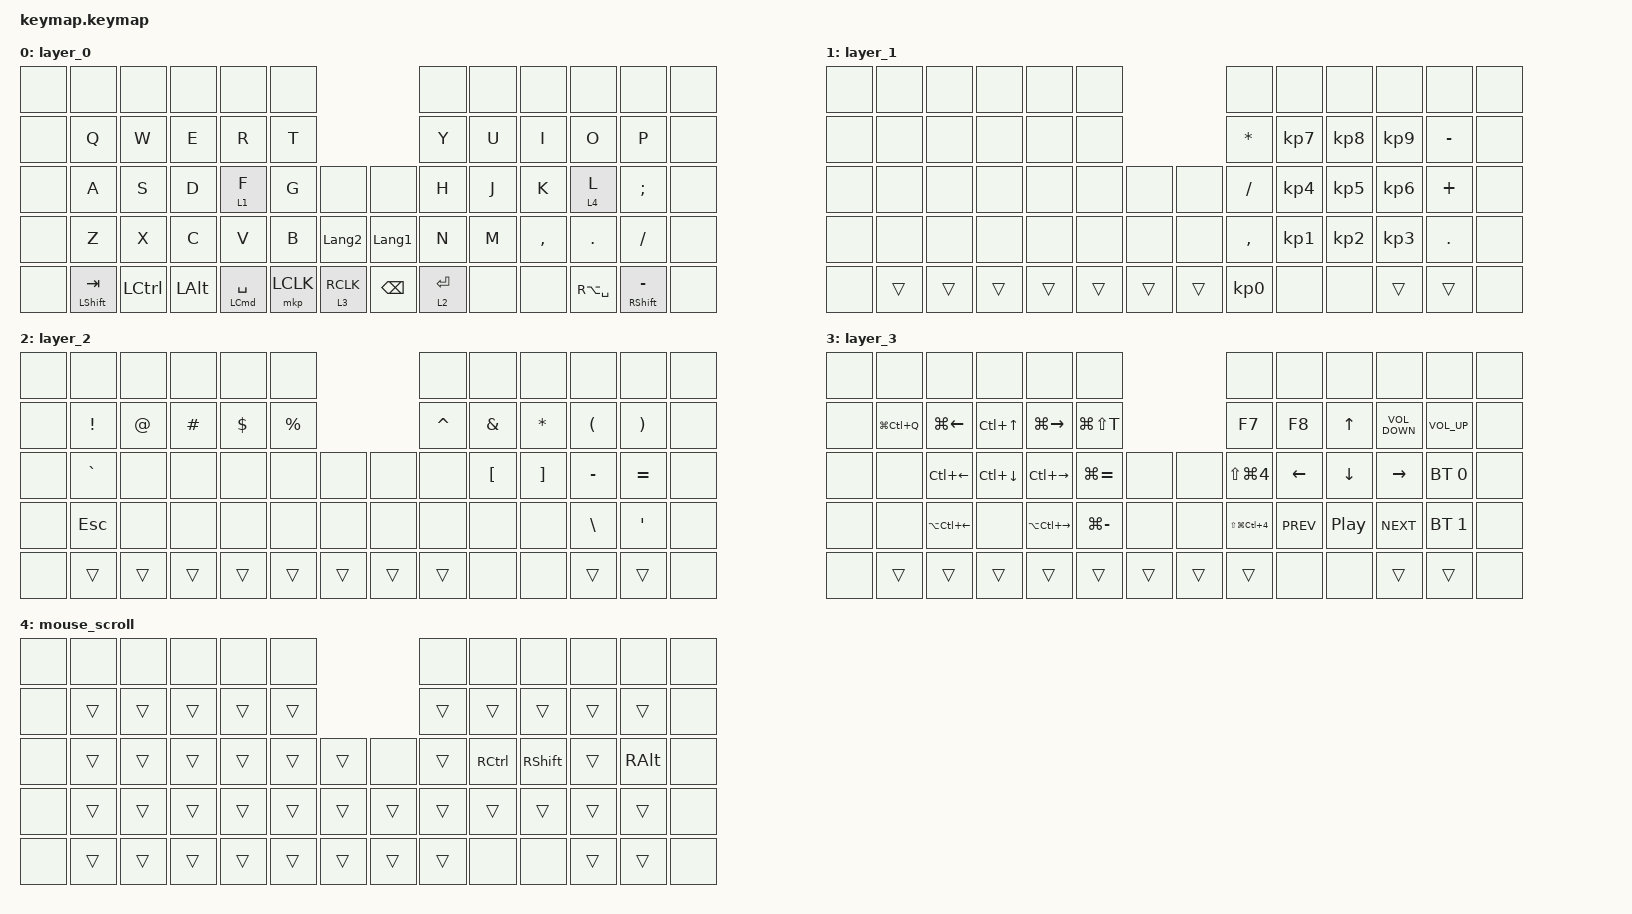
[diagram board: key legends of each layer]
#include <behaviors.dtsi>
#include <dt-bindings/zmk/bt.h>
#include <dt-bindings/zmk/keys.h>
#include <dt-bindings/zmk/pointing.h>

/ {
    combos { compatible = "zmk,combos"; };

    behaviors {
        lt_mouse: lt_mouse {
            compatible = "zmk,behavior-hold-tap";
            label = "LT_MOUSE";
            #binding-cells = <2>;
            tapping-term-ms = <200>;
            flavor = "tap-preferred";
            bindings = <&mo>, <&mkp>;
        };
    };

    keymap {
        compatible = "zmk,keymap";

        layer_0 {
            bindings = <
&none  &none               &none             &none     &none                   &none                                        &none        &none  &none      &none          &none                  &none
&none  &kp Q               &kp W             &kp E     &kp R                   &kp T                                        &kp Y        &kp U  &kp I      &kp O          &kp P                  &none
&none  &kp A               &kp S             &kp D     &lt 1 F                 &kp G      &none             &none           &kp H        &kp J  &kp K      &lt 4 L        &kp SEMI               &none
&none  &kp Z               &kp X             &kp C     &kp V                   &kp B      &kp LANGUAGE_2    &kp LANGUAGE_1  &kp N        &kp M  &kp COMMA  &kp DOT        &kp SLASH              &none
&none  &mt LEFT_SHIFT TAB  &kp LEFT_CONTROL  &kp LALT  &mt LEFT_COMMAND SPACE  &mkp LCLK  &lt_mouse 3 RCLK  &kp BACKSPACE   &lt 2 ENTER  &none  &none      &kp RA(SPACE)  &mt RIGHT_SHIFT MINUS  &none
            >;
        };

        layer_1 {
            bindings = <
&none  &none   &none   &none   &none   &none                   &none            &none            &none            &none            &none       &none
&none  &none   &none   &none   &none   &none                   &kp ASTERISK     &kp KP_NUMBER_7  &kp KP_NUMBER_8  &kp KP_NUMBER_9  &kp MINUS   &none
&none  &none   &none   &none   &none   &none   &none   &none   &kp SLASH        &kp KP_NUMBER_4  &kp KP_NUMBER_5  &kp KP_NUMBER_6  &kp PLUS    &none
&none  &none   &none   &none   &none   &none   &none   &none   &kp COMMA        &kp KP_NUMBER_1  &kp KP_NUMBER_2  &kp KP_NUMBER_3  &kp PERIOD  &none
&none  &trans  &trans  &trans  &trans  &trans  &trans  &trans  &kp KP_NUMBER_0  &none            &none            &trans           &trans      &none
            >;
        };

        layer_2 {
            bindings = <
&none  &none            &none        &none     &none       &none                        &none      &none             &none              &none                 &none                  &none
&none  &kp EXCLAMATION  &kp AT_SIGN  &kp HASH  &kp DOLLAR  &kp PERCENT                  &kp CARET  &kp AMPERSAND     &kp ASTERISK       &kp LEFT_PARENTHESIS  &kp RIGHT_PARENTHESIS  &none
&none  &kp GRAVE        &none        &none     &none       &none        &none   &none   &none      &kp LEFT_BRACKET  &kp RIGHT_BRACKET  &kp MINUS             &kp EQUAL              &none
&none  &kp ESCAPE       &none        &none     &none       &none        &none   &none   &none      &none             &none              &kp BACKSLASH         &kp SINGLE_QUOTE       &none
&none  &trans           &trans       &trans    &trans      &trans       &trans  &trans  &trans     &none             &none              &trans                &trans                 &none
            >;
        };

        layer_3 {
            bindings = <
&none  &none          &none                   &none               &none                    &none                          &none                     &none           &none             &none              &none            &none
&none  &kp LG(LC(Q))  &kp LG(LEFT_ARROW)      &kp LC(UP_ARROW)    &kp LG(RIGHT_ARROW)      &kp LG(LS(T))                  &kp F7                    &kp F8          &kp UP_ARROW      &kp C_VOLUME_DOWN  &kp C_VOLUME_UP  &none
&none  &none          &kp LC(LEFT_ARROW)      &kp LC(DOWN_ARROW)  &kp LC(RIGHT_ARROW)      &kp LG(EQUAL)  &none   &none   &kp LS(LG(NUMBER_4))      &kp LEFT_ARROW  &kp DOWN_ARROW    &kp RIGHT_ARROW    &bt BT_SEL 0     &none
&none  &none          &kp LA(LC(LEFT_ARROW))  &none               &kp LA(LC(RIGHT_ARROW))  &kp LG(MINUS)  &none   &none   &kp LS(LG(LC(NUMBER_4)))  &kp C_PREV      &kp C_PLAY_PAUSE  &kp C_NEXT         &bt BT_SEL 1     &none
&none  &trans         &trans                  &trans              &trans                   &trans         &trans  &trans  &trans                    &none           &none             &trans             &trans           &none
            >;
        };

        mouse_scroll {
            bindings = <
&none  &none   &none   &none   &none   &none                   &none   &none              &none            &none   &none          &none
&none  &trans  &trans  &trans  &trans  &trans                  &trans  &trans             &trans           &trans  &trans         &none
&none  &trans  &trans  &trans  &trans  &trans  &trans  &none   &trans  &kp RIGHT_CONTROL  &kp RIGHT_SHIFT  &trans  &kp RIGHT_ALT  &none
&none  &trans  &trans  &trans  &trans  &trans  &trans  &trans  &trans  &trans             &trans           &trans  &trans         &none
&none  &trans  &trans  &trans  &trans  &trans  &trans  &trans  &trans  &none              &none            &trans  &trans         &none
            >;
        };
    };
};
